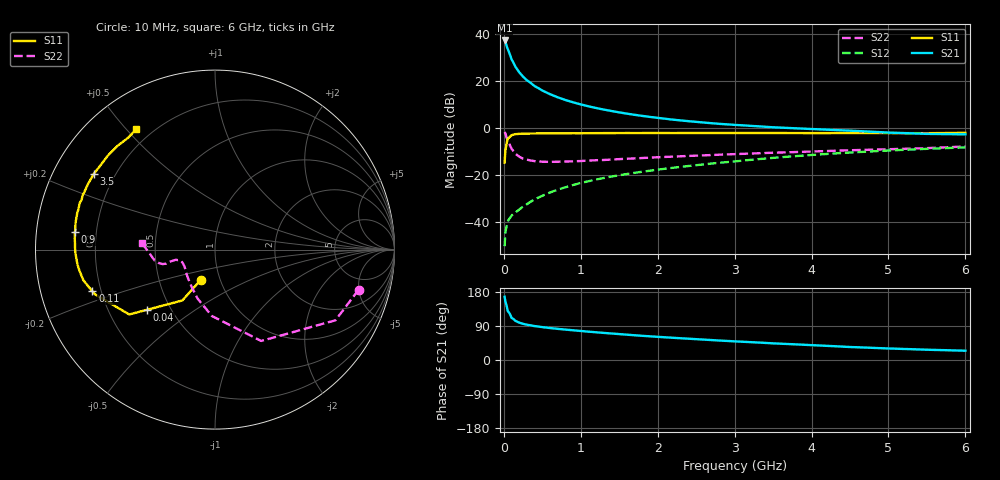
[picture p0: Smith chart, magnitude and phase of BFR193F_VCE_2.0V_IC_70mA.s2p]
! (c) 2017  Infineon Technologies AG, Munich
! Infineon Technologies  Discrete & RF Semiconductors
! BFR193F
! VCE =  2.0 V,  IC =  70 mA
! Common Emitter S-Parameters:  Jan 2017
# GHz  S  MA  R  50
!  f  S11  S21  S12  S22
! GHz  MAG  ANG  MAG  ANG  MAG  ANG  MAG  ANG
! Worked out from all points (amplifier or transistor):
!   77 points, 10 MHz to 6 GHz, reference 50 ohm
!   highest |S21| = 37.4 dB at 10 MHz (marker M1)
!   |S21| within 3 dB of that: start of sweep to 43.37 MHz
!   unconditionally stable (mu >= 1): 466.4 MHz to 2.842 GHz
!   at 130 MHz: K = 0.65, MSG = 32.0 dB, |S12| = -36.4 dB
!   at 2.2 GHz: K = 1.04, MAG = 9.0 dB, |S12| = -16.8 dB
!   at 6 GHz: K = 0.91, MSG = 2.8 dB, |S12| = -8.1 dB
!   S11 on the Smith chart (normalised r, x): 10 MHz: 0.81, -0.28; 40 MHz: 0.37, -0.33; 110 MHz: 0.17, -0.16; 900 MHz: 0.12, +0.06; 3.5 GHz: 0.12, +0.28; 6 GHz: 0.14, +0.53
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0.01  0.1865 -115.2  74.29 166.9  0.0031 78.8  0.8308 -15.6
0.02  0.3368 -122.7  69.22 154.2  0.006 65.6  0.7783 -30.4
0.04  0.5061 -138.5  54.5 139.6  0.0089 56.2  0.6146 -50.0
0.05  0.5989 -142.9  49.03 129.4  0.0104 53.5  0.5703 -63.2
0.1  0.7147 -159.7  29.52 111.2  0.0138 49.4  0.3702 -92.7
0.11  0.7213 -161.2  27.69 110.0  0.0143 50.3  0.3519 -95.5
0.15  0.7524 -166.8  20.54 103.3  0.0162 53.2  0.2891 -109.7
0.2  0.7634 -170.8  15.63 98.6  0.0186 56.9  0.2492 -120.6
0.25  0.7704 -173.7  12.57 95.5  0.0217 61.2  0.2256 -129.8
0.3  0.7729 -175.6  10.55 93.1  0.0243 62.9  0.2148 -135.9
0.4  0.7778 -178.6  7.938 89.4  0.0307 66.6  0.2002 -144.8
0.5  0.7801 179.2  6.38 86.8  0.0366 69.7  0.1948 -150.4
0.7  0.7838 175.6  4.581 82.2  0.0494 72.8  0.1946 -157.1
0.9  0.787 172.9  3.582 78.4  0.0621 74.4  0.1987 -161.1
1.1  0.7889 170.4  2.944 74.8  0.0746 75.0  0.2059 -162.7
1.5  0.7928 166.1  2.188 68.4  0.1002 75.1  0.2212 -164.9
2.1  0.7953 160.3  1.6 59.9  0.1384 74.3  0.2462 -165.2
3.1  0.7959 151.7  1.159 48.2  0.2051 71.4  0.2863 -164.1
3.5  0.7963 148.1  1.054 43.9  0.235 69.8  0.3025 -164.5
4.1  0.7921 142.3  0.951 38.3  0.2779 66.3  0.3248 -167.1
5.1  0.7917 132.0  0.802 29.8  0.3428 59.5  0.363 -176.1
6  0.8018 123.3  0.745 24.5  0.3928 53.4  0.4108 174.6
